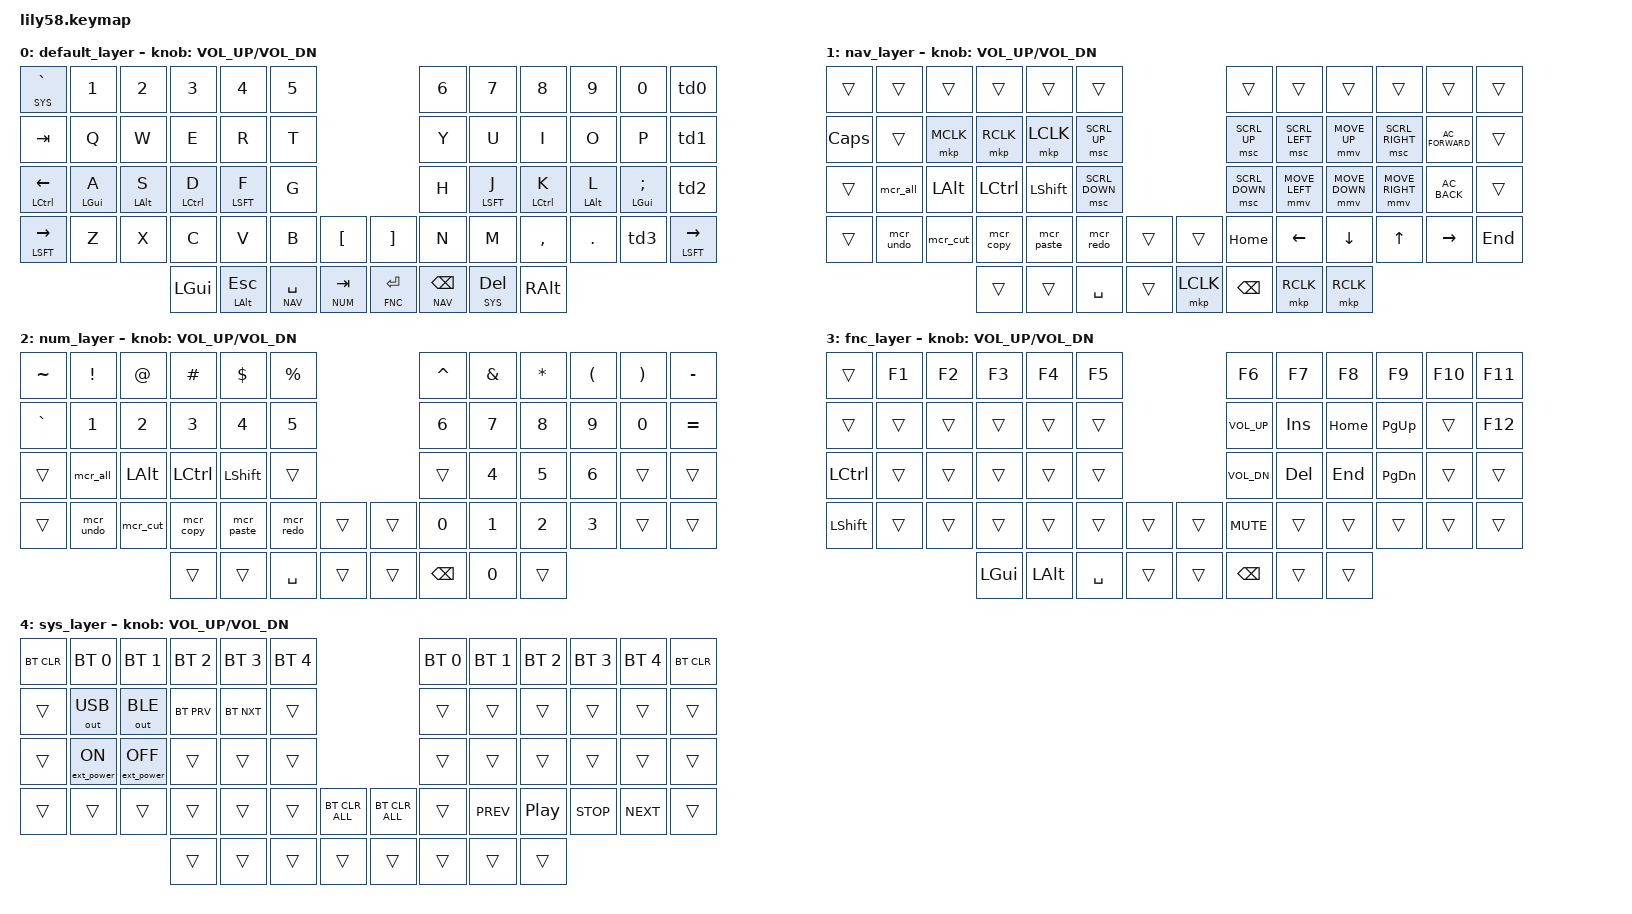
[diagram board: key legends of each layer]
/*
 * Copyright (c) 2020 The ZMK Contributors
 *
 * SPDX-License-Identifier: MIT
 */

#include <behaviors.dtsi>
#include <dt-bindings/zmk/keys.h>
#include <dt-bindings/zmk/bt.h>
#include <dt-bindings/zmk/ext_power.h>
#include <dt-bindings/zmk/outputs.h>

#include <dt-bindings/zmk/mouse.h>


#define DEFAULT 0
#define NAV   1
#define NUM   2
#define FNC   3
#define SYS   4

//flavor = "hold-preferred";
//flavor = "tap-unless-interrupted";
//flavor = "balanced";
//flavor = "tap-preferred";

/ {
    combos {
        compatible = "zmk,combos";
        combo_ralt {
            timeout-ms = <50>;
            key-positions = <40 41>;
            bindings = <&kp RALT>;
        };
        combo_ralt2 {
            timeout-ms = <50>;
            key-positions = <44 45>;
            bindings = <&kp RALT>;
        };
    };
};

/ {
    behaviors {
        hm1: hm1 {
            compatible = "zmk,behavior-hold-tap";
            label = "HOMEROW_MODS1";
            #binding-cells = <2>;
            tapping-term-ms = <150>;
            quick-tap-ms = <0>;
			flavor = "tap-preferred";
            bindings = <&kp>, <&kp>;
        };
        hm2: hm2 {
            compatible = "zmk,behavior-hold-tap";
            label = "HOMEROW_MODS2";
            #binding-cells = <2>;
            tapping-term-ms = <200>;
            quick-tap-ms = <0>;
			flavor = "tap-preferred";
            bindings = <&kp>, <&kp>;
        };
        hm3: hm3 {
            compatible = "zmk,behavior-hold-tap";
            label = "HOMEROW_MODS3";
            #binding-cells = <2>;
            tapping-term-ms = <250>;
            quick-tap-ms = <0>;
            flavor = "tap-preferred";
            bindings = <&kp>, <&kp>;
        };
        hm4: hm4 {
            compatible = "zmk,behavior-hold-tap";
            label = "HOMEROW_MODS3";
            #binding-cells = <2>;
            tapping-term-ms = <350>;
            quick-tap-ms = <0>;
            flavor = "tap-preferred";
            bindings = <&kp>, <&kp>;
        };
        td0: tap_dance_0 {
            compatible = "zmk,behavior-tap-dance";
            label = "TAP_DANCE_0";
            #binding-cells = <0>;
            tapping-term-ms = <200>;
            bindings = <&kp MINUS>, <&kp EQUAL>;
        };
        td1: tap_dance_1 {
            compatible = "zmk,behavior-tap-dance";
            label = "TAP_DANCE_1";
            #binding-cells = <0>;
            tapping-term-ms = <200>;
            bindings = <&kp LBKT>, <&kp RBKT>;
        };
        td2: tap_dance_2 {
            compatible = "zmk,behavior-tap-dance";
            label = "TAP_DANCE_2";
            #binding-cells = <0>;
            tapping-term-ms = <200>;
            bindings = <&kp SQT>, <&kp GRAVE>;
        };
        td3: tap_dance_3 {
            compatible = "zmk,behavior-tap-dance";
            label = "TAP_DANCE_3";
            #binding-cells = <0>;
            tapping-term-ms = <200>;
            bindings = <&kp FSLH>, <&kp BSLH>;
        };
    };
};

/ {
    macros {
        mcr_undo: mcr_undo {
            label = "mcr_undo";
            compatible = "zmk,behavior-macro";
            #binding-cells = <0>;
            bindings
                = <&macro_press &kp LCTRL>
                , <&macro_tap &kp Z>
                , <&macro_release &kp LCTRL>
                ;
        };
        mcr_cut: mcr_cut {
            label = "mcr_cut";
            compatible = "zmk,behavior-macro";
            #binding-cells = <0>;
            bindings
                = <&macro_press &kp LCTRL>
                , <&macro_tap &kp X>
                , <&macro_release &kp LCTRL>
                ;
        };
        mcr_copy: mcr_copy {
            label = "mcr_copy";
            compatible = "zmk,behavior-macro";
            #binding-cells = <0>;
            bindings
                = <&macro_press &kp LCTRL>
                , <&macro_tap &kp C>
                , <&macro_release &kp LCTRL>
                ;
        };
        mcr_paste: mcr_paste {
            label = "mcr_paste";
            compatible = "zmk,behavior-macro";
            #binding-cells = <0>;
            bindings
                = <&macro_press &kp LCTRL>
                , <&macro_tap &kp V>
                , <&macro_release &kp LCTRL>
                ;
        };
        mcr_redo: mcr_redo {
            label = "mcr_redo";
            compatible = "zmk,behavior-macro";
            #binding-cells = <0>;
            bindings
                = <&macro_press &kp LCTRL>
                , <&macro_press &kp LSHFT>
                , <&macro_tap &kp Z>
                , <&macro_release &kp LSHFT>
                , <&macro_release &kp LCTRL>
                ;
        };
        mcr_all: mcr_all {
            label = "mcr_all";
            compatible = "zmk,behavior-macro";
            #binding-cells = <0>;
            bindings
                = <&macro_press &kp LCTRL>
                , <&macro_tap &kp A>
                , <&macro_release &kp LCTRL>
                ;
        };
    };
};

&mmv {
    delay-ms = <0>;
    time-to-max-speed-ms = <200>;
};

&msc {
    delay-ms = <0>;
    acceleration-exponent=<1>;
    time-to-max-speed-ms = <300>;
};

/ {
	keymap {
		compatible = "zmk,keymap";

		default_layer {
			bindings = <
&lt SYS GRAVE   &kp N1         &kp N2         &kp N3          &kp N4         &kp N5                                                &kp N6              &kp N7               &kp N8             &kp N9             &kp N0               &td0
&kp TAB         &kp Q          &kp W          &kp E           &kp R          &kp T                                                 &kp Y               &kp U                &kp I              &kp O              &kp P                &td1
&hm1 LCTL LEFT  &hm4 LGUI A    &hm3 LALT S    &hm3 LCTL D     &hm2 LSFT F    &kp G                                                 &kp H               &hm1 LSFT J          &hm3 LCTL K        &hm3 LALT L        &hm4 LGUI SEMI       &td2
&hm1 LSFT RIGHT &kp Z          &kp X          &kp C           &kp V          &kp B             &kp LBKT          &kp RBKT          &kp N               &kp M                &kp COMMA          &kp DOT            &td3                 &hm1 LSFT RIGHT
                                              &kp LGUI       &hm4 LALT ESC   &lt NAV SPACE     &lt NUM TAB       &lt FNC RET       &lt NAV BSPC        &lt SYS DEL          &kp RALT
			>;

			sensor-bindings = <&inc_dec_kp C_VOL_UP C_VOL_DN>;
		};

		nav_layer {
			bindings = <
&trans         &trans         &trans         &trans          &trans          &trans                                                 &trans              &trans              &trans             &trans            &trans              &trans
&kp CAPS       &trans         &mkp MCLK      &mkp RCLK       &mkp LCLK       &msc SCRL_UP                                           &msc SCRL_UP        &msc SCRL_LEFT      &mmv MOVE_UP       &msc SCRL_RIGHT   &kp C_AC_FORWARD    &trans
&trans         &mcr_all       &kp LALT       &kp LCTRL       &kp LSHFT       &msc SCRL_DOWN                                         &msc SCRL_DOWN      &mmv MOVE_LEFT      &mmv MOVE_DOWN     &mmv MOVE_RIGHT   &kp C_AC_BACK       &trans
&trans         &mcr_undo      &mcr_cut       &mcr_copy       &mcr_paste      &mcr_redo         &trans            &trans             &kp HOME            &kp LEFT            &kp DOWN           &kp UP            &kp RIGHT           &kp END
                                             &trans          &trans          &kp SPACE         &trans            &mkp LCLK          &kp BSPC            &mkp RCLK           &mkp RCLK
			>;

			sensor-bindings = <&inc_dec_kp C_VOL_UP C_VOL_DN>;
		};

		num_layer {
			bindings = <
&kp TILDE      &kp EXCL       &kp AT         &kp HASH        &kp DOLLAR      &kp PERCENT                                            &kp CARET           &kp AMPS            &kp ASTERISK       &kp LPAR          &kp RPAR            &kp MINUS
&kp GRAVE      &kp N1         &kp N2         &kp N3          &kp N4          &kp N5                                                 &kp N6              &kp N7              &kp N8             &kp N9            &kp N0              &kp EQUAL
&trans         &mcr_all       &kp LALT       &kp LCTRL       &kp LSHFT       &trans                                                 &trans              &kp N4              &kp N5             &kp N6            &trans              &trans
&trans         &mcr_undo      &mcr_cut       &mcr_copy       &mcr_paste      &mcr_redo         &trans            &trans             &kp N0              &kp N1              &kp N2             &kp N3            &trans              &trans
                                             &trans          &trans          &kp SPACE         &trans            &trans             &kp BSPC            &kp N0              &trans
			>;

			sensor-bindings = <&inc_dec_kp C_VOL_UP C_VOL_DN>;
		};

		fnc_layer {
			bindings = <
&trans         &kp F1         &kp F2         &kp F3          &kp F4          &kp F5                                                 &kp F6              &kp F7              &kp F8             &kp F9            &kp F10             &kp F11
&trans         &trans         &trans         &trans          &trans          &trans                                                 &kp C_VOL_UP        &kp INSERT          &kp HOME           &kp PG_UP         &trans              &kp F12
&kp LCTRL      &trans         &trans         &trans          &trans          &trans                                                 &kp C_VOL_DN        &kp DELETE          &kp END            &kp PG_DN         &trans              &trans
&kp LSHFT      &trans         &trans         &trans          &trans          &trans            &trans            &trans             &kp C_MUTE          &trans              &trans             &trans            &trans              &trans
                                             &kp LGUI        &kp LALT        &kp SPACE         &trans            &trans             &kp BSPC            &trans              &trans
			>;

			sensor-bindings = <&inc_dec_kp C_VOL_UP C_VOL_DN>;
		};

		sys_layer {
			bindings = <
&bt BT_CLR     &bt BT_SEL 0   &bt BT_SEL 1   &bt BT_SEL 2    &bt BT_SEL 3    &bt BT_SEL 4                                           &bt BT_SEL 0        &bt BT_SEL 1        &bt BT_SEL 2       &bt BT_SEL 3      &bt BT_SEL 4        &bt BT_CLR
&trans         &out OUT_USB   &out OUT_BLE   &bt BT_PRV      &bt BT_NXT      &trans                                                 &trans              &trans              &trans             &trans            &trans              &trans
&trans    &ext_power EP_ON &ext_power EP_OFF &trans          &trans          &trans                                                 &trans              &trans              &trans             &trans            &trans              &trans
&trans         &trans         &trans         &trans          &trans          &trans            &bt BT_CLR_ALL    &bt BT_CLR_ALL     &trans              &kp C_PREV          &kp C_PP           &kp C_STOP        &kp C_NEXT          &trans
                                             &trans          &trans          &trans            &trans            &trans             &trans              &trans              &trans
			>;

			sensor-bindings = <&inc_dec_kp C_VOL_UP C_VOL_DN>;
		};
	};
};
